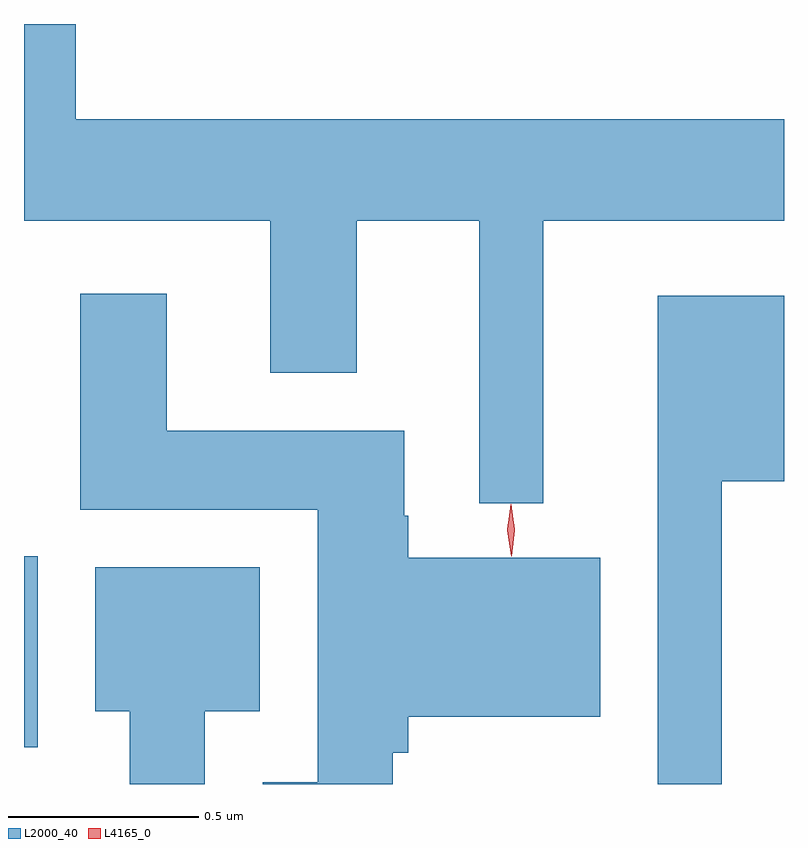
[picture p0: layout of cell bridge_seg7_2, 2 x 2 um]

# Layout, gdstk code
import gdstk
lib = gdstk.Library(unit=1e-6, precision=1e-09)
def R(c, l, rs):  # rectangles x0, y0, x1, y1
    for r in rs: c.add(gdstk.rectangle(r[:2], r[2:], *l))
def P(c, l, *ps):  # polygons
    for p in ps: c.add(gdstk.Polygon(p, *l))
L2000_40 = (2000, 40)
L4165_0 = (4165, 0)

bridge_seg7_2 = lib.new_cell('bridge_seg7_2')
R(bridge_seg7_2, L2000_40, [(1676.023,1739.571,1676.059,1740.074)])
P(bridge_seg7_2, L2000_40, [(1677.389,1740.956),(1678.023,1740.956),(1678.023,1741.224),(1676.159,1741.224),(1676.159,1741.474),(1676.023,1741.474),(1676.023,1740.956),(1676.671,1740.956),(1676.671,1740.556),(1676.899,1740.556),(1676.899,1740.956),(1677.221,1740.956),(1677.221,1740.213),(1677.389,1740.213)],
  [(1676.994,1739.556),(1677.034,1739.556),(1677.034,1739.651),(1677.539,1739.651),(1677.539,1740.069),(1677.034,1740.069),(1677.034,1740.18),(1677.024,1740.18),(1677.024,1740.404),(1676.399,1740.404),(1676.399,1740.764),(1676.171,1740.764),(1676.171,1740.196),(1676.796,1740.196),(1676.796,1739.479),(1676.651,1739.479),(1676.651,1739.474),(1676.994,1739.474)],
  [(1677.859,1740.271),(1678.023,1740.271),(1678.023,1740.759),(1677.691,1740.759),(1677.691,1739.474),(1677.859,1739.474)],
  [(1676.499,1739.666),(1676.644,1739.666),(1676.644,1740.044),(1676.211,1740.044),(1676.211,1739.666),(1676.301,1739.666),(1676.301,1739.474),(1676.499,1739.474)])
P(bridge_seg7_2, L4165_0, [(1677.306,1740.073),(1677.305,1740.074),(1677.295,1740.142),(1677.304,1740.21),(1677.305,1740.21),(1677.305,1740.21),(1677.315,1740.142),(1677.306,1740.074)],
  [(1677.304,1740.082),(1677.295,1740.144),(1677.304,1740.206),(1677.305,1740.207),(1677.305,1740.206),(1677.315,1740.144),(1677.305,1740.082),(1677.305,1740.082)])

lib.write_gds('bridge_seg7_2.gds')
